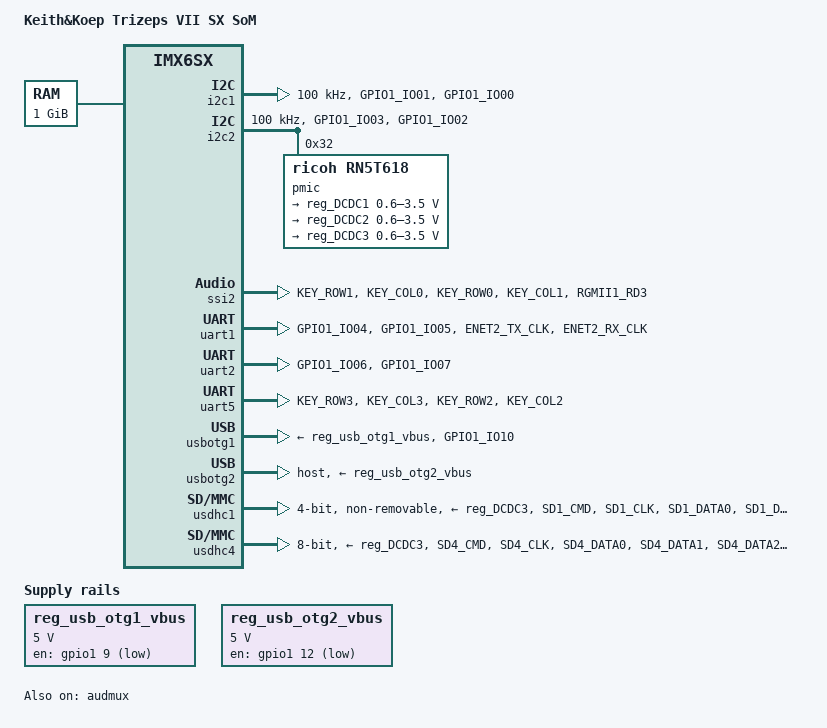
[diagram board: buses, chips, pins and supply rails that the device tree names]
// SPDX-License-Identifier: GPL-2.0
//
// Copyright 2016 Marek Vasut <marex@denx.de>

#include "imx6sx.dtsi"

/ {
	model = "Keith&Koep Trizeps VII SX SoM";
	compatible = "keithkoep,imx6sx-trizeps-vii", "fsl,imx6sx";

	memory@80000000 {
		device_type = "memory";
		reg = <0x80000000 0x40000000>;
	};

	regulators {
		compatible = "simple-bus";
		#address-cells = <1>;
		#size-cells = <0>;

		reg_usb_otg1_vbus: regulator@1 {
			compatible = "regulator-fixed";
			reg = <1>;
			pinctrl-names = "default";
			pinctrl-0 = <&pinctrl_usb_otg1>;
			regulator-name = "usb_otg1_vbus";
			regulator-min-microvolt = <5000000>;
			regulator-max-microvolt = <5000000>;
			gpio = <&gpio1 9 GPIO_ACTIVE_HIGH>;
			enable-active-low;
		};

		reg_usb_otg2_vbus: regulator@2 {
			compatible = "regulator-fixed";
			reg = <2>;
			pinctrl-names = "default";
			pinctrl-0 = <&pinctrl_usb_otg2>;
			regulator-name = "usb_otg2_vbus";
			regulator-min-microvolt = <5000000>;
			regulator-max-microvolt = <5000000>;
			gpio = <&gpio1 12 GPIO_ACTIVE_HIGH>;
			enable-active-low;
		};
	};

	sound {
		compatible = "fsl,imx-audio-wm9712";
		model = "wm9712-audio";
		cpu-dai = <&ssi2>;
		audio-routing =
			"Headphone Jack", "HPOUTL",
			"Headphone Jack", "HPOUTR";
		mux-int-port = <2>;
		mux-ext-port = <5>;
	};
};

&audmux {
	status = "okay";
};

&fec1 {
	pinctrl-names = "default";
	pinctrl-0 = <&pinctrl_enet1>;
	phy-mode = "rgmii";
	phy-handle = <&ethphy1>;
	status = "disabled";

	mdio {
		#address-cells = <1>;
		#size-cells = <0>;

		ethphy1: ethernet-phy@1 {
			reg = <1>;
		};

		ethphy2: ethernet-phy@2 {
			reg = <2>;
		};
	};
};

&fec2 {
	pinctrl-names = "default";
	pinctrl-0 = <&pinctrl_enet2>;
	phy-mode = "rgmii";
	phy-handle = <&ethphy2>;
	status = "disabled";
};

&i2c1 {
	clock-frequency = <100000>;
	pinctrl-names = "default";
	pinctrl-0 = <&pinctrl_i2c1>;
	status = "okay";
};

&i2c2 {
	clock-frequency = <100000>;
	pinctrl-names = "default";
	pinctrl-0 = <&pinctrl_i2c2>;
	status = "okay";

	pmic@32 {
		compatible = "ricoh,rn5t618";
		reg = <0x32>;

		regulators {
			reg_DCDC1: DCDC1 {
				regulator-min-microvolt = <600000>;
				regulator-max-microvolt = <3500000>;
				regulator-ramp-delay = <6000>;
			};

			reg_DCDC2: DCDC2 {
				regulator-min-microvolt = <600000>;
				regulator-max-microvolt = <3500000>;
				regulator-ramp-delay = <6000>;
				regulator-boot-on;
				regulator-always-on;
			};

			reg_DCDC3: DCDC3 {
				regulator-min-microvolt = <600000>;
				regulator-max-microvolt = <3500000>;
				regulator-ramp-delay = <6000>;
			};
		};
	};

	24c02@51 {
		compatible = "microchip,24c02", "atmel,24c02";
		reg = <0x51>;
		/* This EEPROM is assembly-time option of the SoM */
		status = "disabled";
	};
};

&qspi1 {
	pinctrl-names = "default";
	pinctrl-0 = <&pinctrl_qspi1>;
	status = "disabled";
	/* Flash is optional */
};

&reg_vdd1p1 {
	vin-supply = <&reg_DCDC3>;
};

&reg_vdd2p5 {
	vin-supply = <&reg_DCDC3>;
};

&reg_vdd3p0 {
	vin-supply = <&reg_DCDC3>;
};

&reg_arm {
	vin-supply = <&reg_DCDC1>;
};

&reg_soc {
	vin-supply = <&reg_DCDC1>;
};

&ssi2 {
	cell-index = <0>;
	pinctrl-names = "default", "ac97-running",
			"ac97-reset", "ac97-warm-reset";
	pinctrl-0 = <&pinctrl_audmux>;
	pinctrl-1 = <&pinctrl_audmux>;
	pinctrl-2 = <&pinctrl_ac97link_reset>;
	pinctrl-3 = <&pinctrl_ac97link_warm_reset>;
	/* sync, sdata, reset */
	ac97-gpios = <&gpio2 15 0 &gpio2 11 0 &gpio5 3 0>;
	fsl,mode = "ac97-slave";
	status = "okay";
};

&uart1 {
	pinctrl-names = "default";
	pinctrl-0 = <&pinctrl_uart1>;
	uart-has-rtscts;
	status = "okay";
};

&uart2 {
	pinctrl-names = "default";
	pinctrl-0 = <&pinctrl_uart2>;
	status = "okay";
};

&uart5 {
	pinctrl-names = "default";
	pinctrl-0 = <&pinctrl_uart5>;
	uart-has-rtscts;
	status = "okay";
};

&usbotg1 {
	vbus-supply = <&reg_usb_otg1_vbus>;
	pinctrl-names = "default";
	pinctrl-0 = <&pinctrl_usb_otg1_id>;
	status = "okay";
};

&usbotg2 {
	vbus-supply = <&reg_usb_otg2_vbus>;
	dr_mode = "host";
	status = "okay";
};

&usdhc1 {
	pinctrl-names = "default";
	pinctrl-0 = <&pinctrl_usdhc1>;
	vmmc-supply = <&reg_DCDC3>;
	bus-width = <4>;
	no-1-8-v;
	non-removable;
	status = "okay";
	cap-sdio-irq;
};

&usdhc4 {
	pinctrl-names = "default";
	pinctrl-0 = <&pinctrl_usdhc4>;
	vmmc-supply = <&reg_DCDC3>;
	bus-width = <8>;	/* uSD is 4bit, eMMC is 8bit */
	no-1-8-v;
	status = "okay";
};

&iomuxc {
	imx6sx-trizeps-vii-sx {
		pinctrl_audmux: audmuxgrp {
			fsl,pins = <
				MX6SX_PAD_KEY_ROW1__AUDMUX_AUD5_RXD	0x130b0
				MX6SX_PAD_KEY_COL0__AUDMUX_AUD5_TXC	0x130b0
				MX6SX_PAD_KEY_ROW0__AUDMUX_AUD5_TXD	0x110b0
				MX6SX_PAD_KEY_COL1__AUDMUX_AUD5_TXFS	0x130b0
				MX6SX_PAD_RGMII1_RD3__GPIO5_IO_3	0x1b0b1
			>;
		};

		pinctrl_ac97link_reset: audmuxgrp_reset {
			fsl,pins = <
				MX6SX_PAD_KEY_ROW0__GPIO2_IO_15		0x1f071
				MX6SX_PAD_KEY_COL1__GPIO2_IO_11		0x1f071
				MX6SX_PAD_RGMII1_RD3__GPIO5_IO_3	0x1f071
			>;
		};

		pinctrl_ac97link_warm_reset: audmuxgrp_warmreset {
			fsl,pins = <
				MX6SX_PAD_KEY_COL1__GPIO2_IO_11		0x1f071
			>;
		};

		pinctrl_enet1: enet1grp {
			fsl,pins = <
				MX6SX_PAD_ENET1_MDIO__ENET1_MDIO	0xa0b1
				MX6SX_PAD_ENET1_MDC__ENET1_MDC		0xa0b1
				MX6SX_PAD_RGMII1_TXC__ENET1_RGMII_TXC	0xa0b1
				MX6SX_PAD_RGMII1_TD0__ENET1_TX_DATA_0	0xa0b1
				MX6SX_PAD_RGMII1_TD1__ENET1_TX_DATA_1	0xa0b1
				MX6SX_PAD_RGMII1_TD2__ENET1_TX_DATA_2	0xa0b1
				MX6SX_PAD_RGMII1_TD3__ENET1_TX_DATA_3	0xa0b1
				MX6SX_PAD_RGMII1_TX_CTL__ENET1_TX_EN	0xa0b1
				MX6SX_PAD_RGMII1_RXC__ENET1_RX_CLK	0x3081
				MX6SX_PAD_RGMII1_RD0__ENET1_RX_DATA_0	0x3081
				MX6SX_PAD_RGMII1_RD1__ENET1_RX_DATA_1	0x3081
				MX6SX_PAD_RGMII1_RD2__ENET1_RX_DATA_2	0x3081
				MX6SX_PAD_RGMII1_RD3__ENET1_RX_DATA_3	0x3081
				MX6SX_PAD_RGMII1_RX_CTL__ENET1_RX_EN	0x3081
			>;
		};

		pinctrl_enet2: enet2grp {
			fsl,pins = <
				MX6SX_PAD_RGMII2_TXC__ENET2_RGMII_TXC	0xa0b9
				MX6SX_PAD_RGMII2_TD0__ENET2_TX_DATA_0	0xa0b1
				MX6SX_PAD_RGMII2_TD1__ENET2_TX_DATA_1	0xa0b1
				MX6SX_PAD_RGMII2_TD2__ENET2_TX_DATA_2	0xa0b1
				MX6SX_PAD_RGMII2_TD3__ENET2_TX_DATA_3	0xa0b1
				MX6SX_PAD_RGMII2_TX_CTL__ENET2_TX_EN	0xa0b1
				MX6SX_PAD_RGMII2_RXC__ENET2_RX_CLK	0x3081
				MX6SX_PAD_RGMII2_RD0__ENET2_RX_DATA_0	0x3081
				MX6SX_PAD_RGMII2_RD1__ENET2_RX_DATA_1	0x3081
				MX6SX_PAD_RGMII2_RD2__ENET2_RX_DATA_2	0x3081
				MX6SX_PAD_RGMII2_RD3__ENET2_RX_DATA_3	0x3081
				MX6SX_PAD_RGMII2_RX_CTL__ENET2_RX_EN	0x3081
			>;
		};

		pinctrl_i2c1: i2c1grp {
			fsl,pins = <
				MX6SX_PAD_GPIO1_IO01__I2C1_SDA	0x4001b8b1
				MX6SX_PAD_GPIO1_IO00__I2C1_SCL	0x4001b8b1
			>;
		};

		pinctrl_i2c2: i2c2grp {
			fsl,pins = <
				MX6SX_PAD_GPIO1_IO03__I2C2_SDA	0x4001b8b1
				MX6SX_PAD_GPIO1_IO02__I2C2_SCL	0x4001b8b1
			>;
		};

		pinctrl_qspi1: qspi1grp {
			fsl,pins = <
				MX6SX_PAD_QSPI1A_DATA0__QSPI1_A_DATA_0	0x70f1
				MX6SX_PAD_QSPI1A_DATA1__QSPI1_A_DATA_1	0x70f1
				MX6SX_PAD_QSPI1A_DATA2__QSPI1_A_DATA_2	0x70f1
				MX6SX_PAD_QSPI1A_DATA3__QSPI1_A_DATA_3	0x70f1
				MX6SX_PAD_QSPI1A_DQS__QSPI1_A_DQS	0x70f1
				MX6SX_PAD_QSPI1A_SCLK__QSPI1_A_SCLK	0x70f1
				MX6SX_PAD_QSPI1A_SS0_B__QSPI1_A_SS0_B	0x70f1
				MX6SX_PAD_QSPI1A_SS1_B__QSPI1_A_SS1_B	0x70f1
			>;
		};

		pinctrl_uart1: uart1grp {
			fsl,pins = <
				MX6SX_PAD_GPIO1_IO04__UART1_TX		0x1b0b1
				MX6SX_PAD_GPIO1_IO05__UART1_RX		0x1b0b1
				MX6SX_PAD_ENET2_TX_CLK__UART1_CTS_B	0x1b0b1
				MX6SX_PAD_ENET2_RX_CLK__UART1_RTS_B	0x1b0b1
			>;
		};

		pinctrl_uart2: uart2grp {
			fsl,pins = <
				MX6SX_PAD_GPIO1_IO06__UART2_TX		0x1b0b1
				MX6SX_PAD_GPIO1_IO07__UART2_RX		0x1b0b1
			>;
		};

		pinctrl_uart5: uart5grp {
			fsl,pins = <
				MX6SX_PAD_KEY_ROW3__UART5_RX		0x1b0b1
				MX6SX_PAD_KEY_COL3__UART5_TX		0x1b0b1
				MX6SX_PAD_KEY_ROW2__UART5_CTS_B		0x1b0b1
				MX6SX_PAD_KEY_COL2__UART5_RTS_B		0x1b0b1
			>;
		};

		pinctrl_usb_otg1: usbotg1grp {
			fsl,pins = <
				MX6SX_PAD_GPIO1_IO09__GPIO1_IO_9	0x10b0
			>;
		};

		pinctrl_usb_otg1_id: usbotg1idgrp {
			fsl,pins = <
				MX6SX_PAD_GPIO1_IO10__ANATOP_OTG1_ID	0x17059
			>;
		};

		pinctrl_usb_otg2: usbot2ggrp {
			fsl,pins = <
				MX6SX_PAD_GPIO1_IO12__GPIO1_IO_12	0x10b0
			>;
		};

		pinctrl_usdhc1: usdhc1grp {
			fsl,pins = <
				MX6SX_PAD_SD1_CMD__USDHC1_CMD		0x17059
				MX6SX_PAD_SD1_CLK__USDHC1_CLK		0x10059
				MX6SX_PAD_SD1_DATA0__USDHC1_DATA0	0x17059
				MX6SX_PAD_SD1_DATA1__USDHC1_DATA1	0x17059
				MX6SX_PAD_SD1_DATA2__USDHC1_DATA2	0x17059
				MX6SX_PAD_SD1_DATA3__USDHC1_DATA3	0x17059
			>;
		};

		pinctrl_usdhc4: usdhc4grp {
			fsl,pins = <
				MX6SX_PAD_SD4_CMD__USDHC4_CMD		0x17059
				MX6SX_PAD_SD4_CLK__USDHC4_CLK		0x10059
				MX6SX_PAD_SD4_DATA0__USDHC4_DATA0	0x17059
				MX6SX_PAD_SD4_DATA1__USDHC4_DATA1	0x17059
				MX6SX_PAD_SD4_DATA2__USDHC4_DATA2	0x17059
				MX6SX_PAD_SD4_DATA3__USDHC4_DATA3	0x17059
			>;
		};
	};
};
